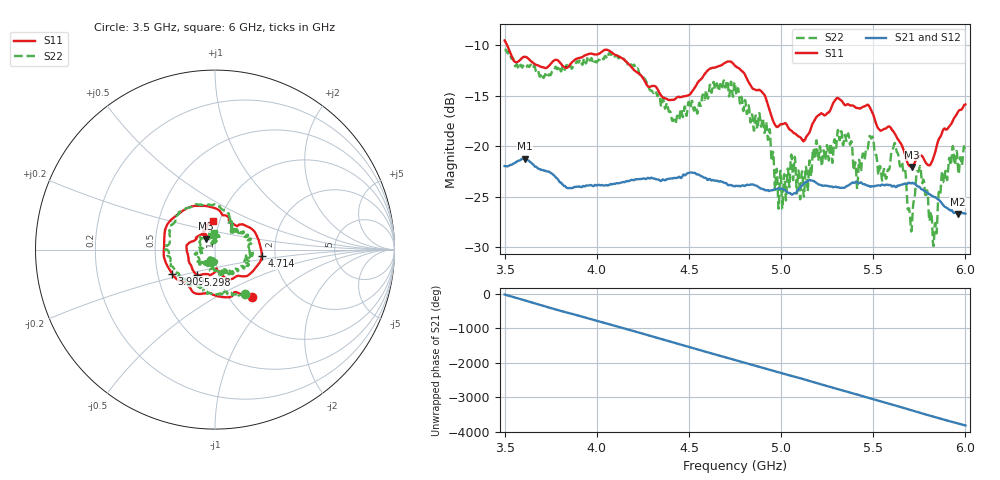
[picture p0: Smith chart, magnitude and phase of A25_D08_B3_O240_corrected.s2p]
! Created with skrf 1.9.0 (http://scikit-rf.org).
# Hz S RI R 50.0
!freq ReS11 ImS11 ReS21 ImS21 ReS12 ImS12 ReS22 ImS22
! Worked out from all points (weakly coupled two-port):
!   1601 points, 3.5 GHz to 6 GHz, reference 50 ohm
!   highest |S21| = -21.23 dB at 3.609 GHz (marker M1); lowest = -26.7 dB at 5.959 GHz (marker M2)
!   lowest |S11| = -22.0 dB at 5.711 GHz (marker M3), VSWR 1.17, Z = 44.9 + j5.48 ohm
!   |S11| at or under -10 dB: 3.514 GHz to end of sweep
!   |S22| runs from -29.9 to -10.4 dB; largest |S21 - S12| = 0.0011
!   S11 on the Smith chart (normalised r, x): 3.5 GHz: 1.27, -0.75; 3.909 GHz: 0.60, -0.17; 4.714 GHz: 1.70, -0.14; 5.298 GHz: 0.79, -0.23; 6 GHz: 0.93, +0.31
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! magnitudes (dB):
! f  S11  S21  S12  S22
! 3.5 GHz  -9.5  -22.0  -21.9  -10.5
! 3.609 GHz  -11.1  -21.2  -21.2  -12.0
! 3.909 GHz  -11.2  -24.0  -24.0  -11.4
! 3.917 GHz  -11.2  -24.0  -24.0  -11.8
! 4.334 GHz  -14.5  -23.3  -23.3  -14.8
! 4.42 GHz  -15.4  -23.2  -23.1  -17.4
! 4.714 GHz  -11.6  -23.9  -23.9  -14.4
! 4.75 GHz  -12.0  -24.0  -23.9  -13.8
! 4.928 GHz  -15.9  -24.4  -24.3  -19.4
! 4.997 GHz  -17.8  -24.2  -24.2  -22.4
! 5.167 GHz  -17.9  -23.4  -23.4  -22.0
! 5.298 GHz  -15.3  -24.0  -24.0  -20.2
! 5.406 GHz  -16.2  -23.5  -23.5  -22.2
! 5.489 GHz  -16.5  -24.0  -24.0  -19.2
! 5.584 GHz  -18.0  -23.9  -23.8  -22.4
! 5.623 GHz  -19.0  -24.1  -24.0  -20.2
! 5.711 GHz  -22.0  -23.6  -23.6  -27.5
! 5.748 GHz  -21.0  -24.0  -24.0  -22.4
! 5.834 GHz  -20.7  -25.0  -25.0  -27.7
! 5.88 GHz  -18.4  -25.8  -25.8  -23.2
! 5.959 GHz  -16.6  -26.7  -26.7  -22.1
! 6 GHz  -15.9  -26.7  -26.6  -20.5
